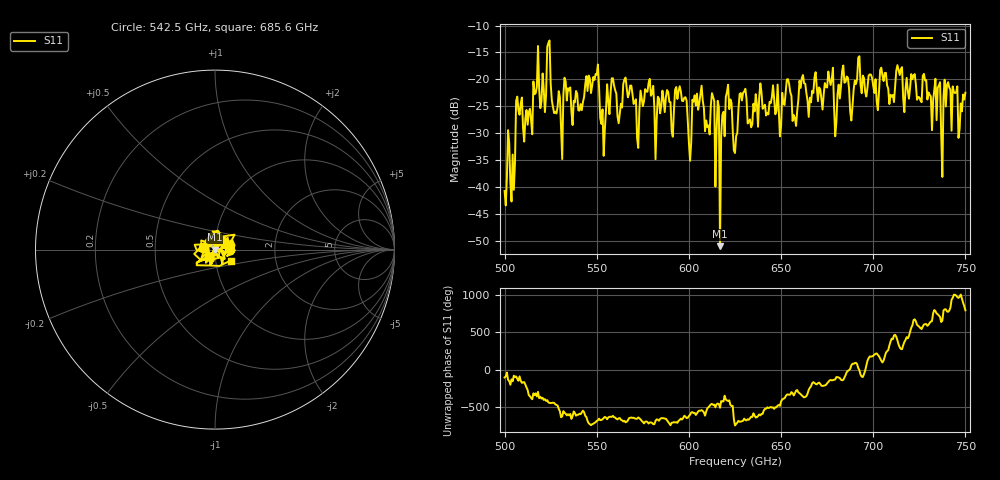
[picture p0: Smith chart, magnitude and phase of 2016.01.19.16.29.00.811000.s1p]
!Created with skrf (http://scikit-rf.org).
# GHz S RI R 50.0
!freq ReS11 ImS11
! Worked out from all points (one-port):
!   401 points, 500 GHz to 750 GHz, reference 50 ohm
!   lowest |S11| = -51.0 dB at 616.9 GHz (marker M1), VSWR 1.01, Z = 49.7 - j0.123 ohm
!   |S11| at or under -10 dB: start of sweep to end of sweep
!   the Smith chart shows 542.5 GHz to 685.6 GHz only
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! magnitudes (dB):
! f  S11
! 500 GHz  -40.8
! 504.4 GHz  -34.0
! 507.5 GHz  -25.8
! 513.8 GHz  -25.5
! 523.8 GHz  -13.2
! 526.9 GHz  -26.3
! 531.2 GHz  -34.8
! 549.4 GHz  -19.0
! 553.1 GHz  -25.6
! 558.8 GHz  -19.8
! 562.5 GHz  -26.4
! 565.6 GHz  -19.7
! 593.8 GHz  -23.7
! 600 GHz  -31.8
! 605.6 GHz  -24.4
! 616.9 GHz  -51.0
! 621.2 GHz  -21.0
! 625 GHz  -33.7
! 629.4 GHz  -22.5
! 633.1 GHz  -27.5
! 656.2 GHz  -27.7
! 676.9 GHz  -21.1
! 687.5 GHz  -26.0
! 691.2 GHz  -19.9
! 718.8 GHz  -22.1
! 738.1 GHz  -23.3
! 740 GHz  -21.1
! 750 GHz  -22.5
